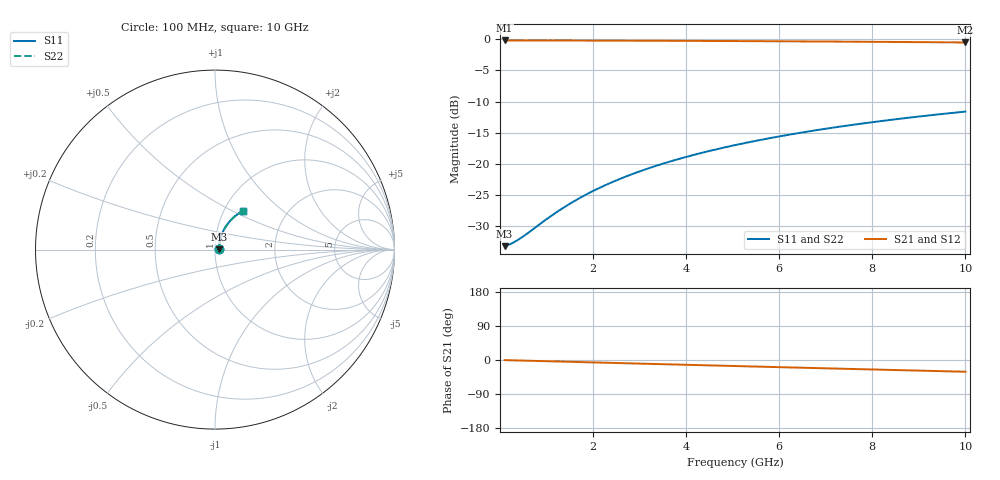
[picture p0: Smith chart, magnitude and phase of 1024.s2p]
# Hz S RI R 50.00
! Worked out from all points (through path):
!   100 points, 100 MHz to 10 GHz, reference 50 ohm
!   highest |S21| = -0.19 dB at 100 MHz (marker M1); lowest = -0.5 dB at 10 GHz (marker M2)
!   group delay of S21, straight-line fit = 8.62 ps
!   lowest |S11| = -33.2 dB at 100 MHz (marker M3), VSWR 1.04, Z = 52.2 + j0.282 ohm
!   |S11| at or under -10 dB: start of sweep to end of sweep
!   |S22| runs from -33.2 to -11.6 dB; largest |S21 - S12| = 0
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1e8  0.0217 0.0027  0.9783 -0.00542  0.9783 -0.00542  0.0217 0.0027
2e8  0.0219 0.0054  0.9781 -0.0108  0.9781 -0.0108  0.0219 0.0054
3e8  0.0221 0.0081  0.9779 -0.0163  0.9779 -0.0163  0.0221 0.0081
4e8  0.0223 0.0108  0.9777 -0.0217  0.9777 -0.0217  0.0223 0.0108
6e8  0.0227 0.0162  0.9772 -0.0325  0.9772 -0.0325  0.0227 0.0162
1e9  0.0238 0.0269  0.9758 -0.0541  0.9758 -0.0541  0.0238 0.0269
1.2e9  0.0246 0.0323  0.9748 -0.0649  0.9748 -0.0649  0.0246 0.0323
1.5e9  0.0259 0.0402  0.9732 -0.081  0.9732 -0.081  0.0259 0.0402
1.8e9  0.0275 0.0482  0.9713 -0.0971  0.9713 -0.0971  0.0275 0.0482
2.1e9  0.0293 0.056  0.969 -0.1131  0.969 -0.1131  0.0293 0.056
2.5e9  0.0321 0.0664  0.9655 -0.1343  0.9655 -0.1343  0.0321 0.0664
2.9e9  0.0354 0.0766  0.9614 -0.1554  0.9614 -0.1554  0.0354 0.0766
3.4e9  0.04 0.0891  0.9555 -0.1815  0.9555 -0.1815  0.04 0.0891
3.8e9  0.0443 0.0989  0.9502 -0.2022  0.9502 -0.2022  0.0443 0.0989
4.2e9  0.0489 0.1085  0.9444 -0.2227  0.9444 -0.2227  0.0489 0.1085
4.6e9  0.054 0.1178  0.938 -0.2429  0.938 -0.2429  0.054 0.1178
5.1e9  0.0608 0.1292  0.9293 -0.2678  0.9293 -0.2678  0.0608 0.1292
5.9e9  0.073 0.1464  0.9138 -0.3068  0.9138 -0.3068  0.073 0.1464
6.7e9  0.0865 0.1623  0.8965 -0.3445  0.8965 -0.3445  0.0865 0.1623
7.5e9  0.1012 0.177  0.8774 -0.381  0.8774 -0.381  0.1012 0.177
8.4e9  0.1191 0.1918  0.854 -0.4202  0.854 -0.4202  0.1191 0.1918
1e10  0.1535 0.2133  0.8082 -0.4854  0.8082 -0.4854  0.1535 0.2133
